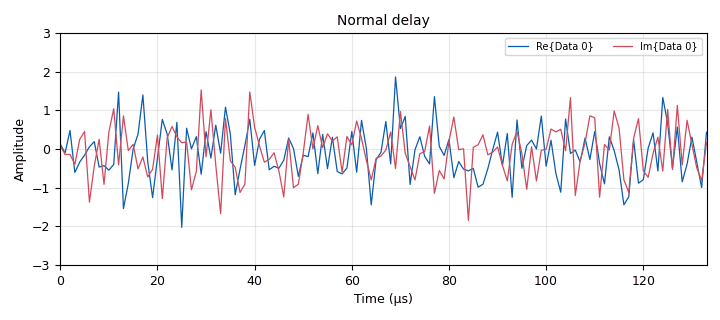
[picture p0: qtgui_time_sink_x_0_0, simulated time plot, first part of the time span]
options:
  parameters:
    generate_options: qt_gui
    id: testShiftSamples
    output_language: python
    title: Not titled yet
  states: {}

blocks:
- name: samp_rate
  id: variable
  parameters:
    value: int(1e6)
  states: {}
- name: shift_samples
  id: variable_qtgui_range
  parameters:
    rangeType: int
    start: '-int(1e6)'
    step: '1'
    stop: int(1e6)
    value: '0'
  states: {}
- name: vector_length
  id: variable
  parameters:
    value: int(32768)
  states: {}
- name: analog_fastnoise_source_x_0
  id: analog_fastnoise_source_x
  parameters:
    amp: '1'
    noise_type: analog.GR_GAUSSIAN
    samples: '8192'
    seed: '0'
    type: complex
  states: {}
- name: blocks_delay_0
  id: blocks_delay
  parameters:
    delay: shift_samples
    type: complex
  states: {}
- name: blocks_throttle2_0
  id: blocks_throttle2
  parameters:
    samples_per_second: samp_rate
    type: complex
  states: {}
- name: qtgui_time_sink_x_0
  id: qtgui_time_sink_x
  parameters:
    name: '"Shift Samples"'
    size: vector_length
    srate: samp_rate
    type: complex
    ymax: '3'
    ymin: '-3'
  states: {}
- name: qtgui_time_sink_x_0_0
  id: qtgui_time_sink_x
  parameters:
    name: '"Normal delay"'
    size: vector_length
    srate: samp_rate
    type: complex
    ymax: '3'
    ymin: '-3'
  states: {}
- name: shift_samples_module_shift_samples_0
  id: shift_samples_module_shift_samples
  parameters:
    number_of_samples_to_shift: shift_samples
    type: complex
  states: {}

connections:
- [analog_fastnoise_source_x_0, '0', blocks_throttle2_0, '0']
- [blocks_delay_0, '0', qtgui_time_sink_x_0_0, '0']
- [blocks_throttle2_0, '0', blocks_delay_0, '0']
- [blocks_throttle2_0, '0', shift_samples_module_shift_samples_0, '0']
- [shift_samples_module_shift_samples_0, '0', qtgui_time_sink_x_0, '0']

metadata:
  file_format: 1
  grc_version: 3.10.7.0
